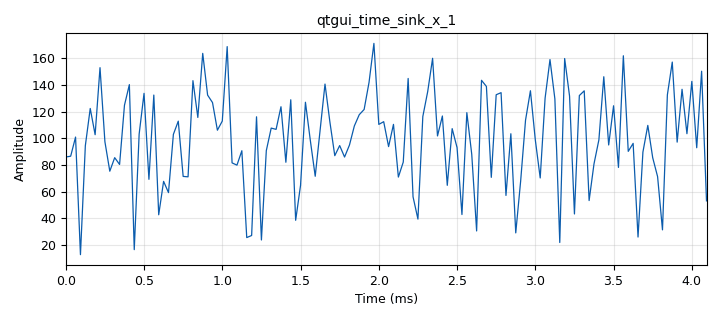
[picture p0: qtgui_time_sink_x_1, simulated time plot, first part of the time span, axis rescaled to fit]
<?xml version='1.0' encoding='utf-8'?>
<?grc format='1' created='3.7.11'?>
<flow_graph>
<block>
<key>options</key>
<param><key>id</key><value>packet_blocks</value></param>
<param><key>category</key><value>Custom</value></param>
<param><key>generate_options</key><value>qt_gui</value></param>
</block>
<block>
<key>variable</key>
<param><key>id</key><value>samp_rate</value></param>
<param><key>value</key><value>32000</value></param>
</block>
<block>
<key>analog_noise_source_x</key>
<param><key>id</key><value>analog_noise_source_x_0</value></param>
<param><key>amp</key><value>1</value></param>
<param><key>noise_type</key><value>analog.GR_GAUSSIAN</value></param>
<param><key>type</key><value>complex</value></param>
<param><key>seed</key><value>0</value></param>
</block>
<block>
<key>analog_random_source_x</key>
<param><key>id</key><value>analog_random_source_x_0</value></param>
<param><key>max</key><value>256</value></param>
<param><key>min</key><value>0</value></param>
<param><key>num_samps</key><value>1000</value></param>
<param><key>type</key><value>byte</value></param>
<param><key>repeat</key><value>True</value></param>
</block>
<block>
<key>analog_random_source_x</key>
<param><key>id</key><value>analog_random_source_x_0_0</value></param>
<param><key>max</key><value>256</value></param>
<param><key>min</key><value>0</value></param>
<param><key>num_samps</key><value>1000</value></param>
<param><key>type</key><value>byte</value></param>
<param><key>repeat</key><value>True</value></param>
</block>
<block>
<key>blks2_packet_decoder</key>
<param><key>id</key><value>blks2_packet_decoder_0</value></param>
<param><key>access_code</key><value></value></param>
<param><key>type</key><value>float</value></param>
<param><key>threshold</key><value>-1</value></param>
</block>
<block>
<key>blks2_packet_encoder</key>
<param><key>id</key><value>blks2_packet_encoder_0</value></param>
<param><key>access_code</key><value></value></param>
<param><key>bits_per_symbol</key><value>1</value></param>
<param><key>type</key><value>byte</value></param>
<param><key>pad_for_usrp</key><value>False</value></param>
<param><key>payload_length</key><value>10</value></param>
<param><key>preamble</key><value></value></param>
<param><key>samples_per_symbol</key><value>1</value></param>
</block>
<block>
<key>blocks_add_xx</key>
<param><key>id</key><value>blocks_add_xx_0</value></param>
<param><key>type</key><value>complex</value></param>
</block>
<block>
<key>blocks_complex_to_mag</key>
<param><key>id</key><value>blocks_complex_to_mag_0</value></param>
</block>
<block>
<key>blocks_interleaved_char_to_complex</key>
<param><key>id</key><value>blocks_interleaved_char_to_complex_0</value></param>
<param><key>vector_input</key><value>False</value></param>
</block>
<block>
<key>blocks_packed_to_unpacked_xx</key>
<param><key>id</key><value>blocks_packed_to_unpacked_xx_0</value></param>
<param><key>bits_per_chunk</key><value>2</value></param>
<param><key>_enabled</key><value>0</value></param>
<param><key>endianness</key><value></value></param>
<param><key>type</key><value>int</value></param>
</block>
<block>
<key>blocks_stream_to_tagged_stream</key>
<param><key>id</key><value>blocks_stream_to_tagged_stream_0</value></param>
<param><key>len_tag_key</key><value>"packet_len"</value></param>
<param><key>packet_len</key><value>100</value></param>
<param><key>type</key><value>byte</value></param>
</block>
<block>
<key>blocks_throttle</key>
<param><key>id</key><value>blocks_throttle_0</value></param>
<param><key>samples_per_second</key><value>samp_rate</value></param>
<param><key>type</key><value>byte</value></param>
</block>
<block>
<key>qtgui_time_sink_x</key>
<param><key>id</key><value>qtgui_time_sink_x_0</value></param>
<param><key>color1</key><value>"blue"</value></param>
<param><key>label1</key><value></value></param>
<param><key>size</key><value>1024</value></param>
<param><key>srate</key><value>samp_rate</value></param>
<param><key>type</key><value>float</value></param>
</block>
<block>
<key>qtgui_time_sink_x</key>
<param><key>id</key><value>qtgui_time_sink_x_1</value></param>
<param><key>color1</key><value>"blue"</value></param>
<param><key>label1</key><value></value></param>
<param><key>size</key><value>1024</value></param>
<param><key>srate</key><value>samp_rate</value></param>
<param><key>type</key><value>float</value></param>
</block>
<connection><source_block_id>analog_noise_source_x_0</source_block_id><sink_block_id>blocks_add_xx_0</sink_block_id><source_key>0</source_key><sink_key>0</sink_key></connection>
<connection><source_block_id>analog_random_source_x_0</source_block_id><sink_block_id>blks2_packet_encoder_0</sink_block_id><source_key>0</source_key><sink_key>0</sink_key></connection>
<connection><source_block_id>analog_random_source_x_0_0</source_block_id><sink_block_id>blocks_stream_to_tagged_stream_0</sink_block_id><source_key>0</source_key><sink_key>0</sink_key></connection>
<connection><source_block_id>blks2_packet_decoder_0</source_block_id><sink_block_id>qtgui_time_sink_x_0</sink_block_id><source_key>0</source_key><sink_key>0</sink_key></connection>
<connection><source_block_id>blks2_packet_encoder_0</source_block_id><sink_block_id>blocks_throttle_0</sink_block_id><source_key>0</source_key><sink_key>0</sink_key></connection>
<connection><source_block_id>blocks_add_xx_0</source_block_id><sink_block_id>blocks_complex_to_mag_0</sink_block_id><source_key>0</source_key><sink_key>0</sink_key></connection>
<connection><source_block_id>blocks_complex_to_mag_0</source_block_id><sink_block_id>qtgui_time_sink_x_1</sink_block_id><source_key>0</source_key><sink_key>0</sink_key></connection>
<connection><source_block_id>blocks_interleaved_char_to_complex_0</source_block_id><sink_block_id>blocks_add_xx_0</sink_block_id><source_key>0</source_key><sink_key>1</sink_key></connection>
<connection><source_block_id>blocks_stream_to_tagged_stream_0</source_block_id><sink_block_id>blocks_interleaved_char_to_complex_0</sink_block_id><source_key>0</source_key><sink_key>0</sink_key></connection>
<connection><source_block_id>blocks_throttle_0</source_block_id><sink_block_id>blks2_packet_decoder_0</sink_block_id><source_key>0</source_key><sink_key>0</sink_key></connection>
</flow_graph>
